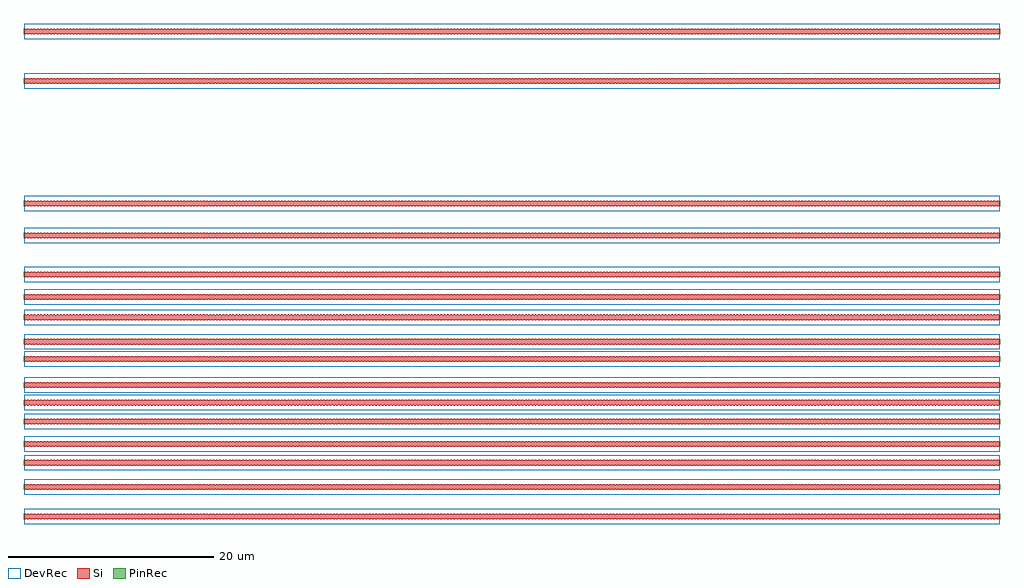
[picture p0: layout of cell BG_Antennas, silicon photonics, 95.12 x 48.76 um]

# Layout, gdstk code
import gdstk
lib = gdstk.Library(unit=1e-6, precision=1e-09)
def R(c, l, rs):  # rectangles x0, y0, x1, y1
    for r in rs: c.add(gdstk.rectangle(r[:2], r[2:], *l))
def A(c, l, x, y, w, h, nx, ny, dx, dy):  # array of equal rectangles
    R(c, l, [(x+i*dx, y+j*dy, x+i*dx+w, y+j*dy+h) for i in range(nx) for j in range(ny)])
Si = (1, 0)
PinRec = (1, 10)
DevRec = (68, 0)

ebeam_bragg_te1550 = lib.new_cell('ebeam_bragg_te1550')
A(ebeam_bragg_te1550, Si, 0, -0.275, 0.158, 0.275, 300, 2, 0.317, 0.275)
A(ebeam_bragg_te1550, Si, 0.158, -0.225, 0.159, 0.225, 300, 2, 0.317, 0.225)
R(ebeam_bragg_te1550, DevRec, [(0,-0.75,95.1,0.75)])
ebeam_bragg_te1550.add(gdstk.FlexPath([(0.01,0),(-0.01,0)], 0.5, ends="flush", simple_path=True, layer=1, datatype=10))  # PinRec
ebeam_bragg_te1550.add(gdstk.FlexPath([(95.09,0),(95.11,0)], 0.5, ends="flush", simple_path=True, layer=1, datatype=10))  # PinRec
ebeam_bragg_te1550.add(gdstk.Label('pin1', (0,0), layer=1, texttype=10))
ebeam_bragg_te1550.add(gdstk.Label('pin2', (95.1,0), layer=1, texttype=10))
ebeam_bragg_te1550.add(gdstk.Label('Lumerical_INTERCONNECT_library=Design kits/ebeam', (0,0), layer=68, texttype=0))
ebeam_bragg_te1550.add(gdstk.Label('Component=ebeam_bragg_te1550', (9.51,0), layer=68, texttype=0))
ebeam_bragg_te1550.add(gdstk.Label('Spice_param:number_of_periods=300 grating_period=3.17e-07 corrugation_width=5e-08 misalignment=0 sinusoidal=0', (10.566,0), layer=68, texttype=0))

bg_antennas = lib.new_cell('BG_Antennas')
bg_antennas.add(gdstk.Reference(ebeam_bragg_te1550, (0.01,43.2), x_reflection=True))
bg_antennas.add(gdstk.Reference(ebeam_bragg_te1550, (0.01,3.64), x_reflection=True))
bg_antennas.add(gdstk.Reference(ebeam_bragg_te1550, (0.01,5.99), x_reflection=True))
bg_antennas.add(gdstk.Reference(ebeam_bragg_te1550, (0.01,7.81), x_reflection=True))
bg_antennas.add(gdstk.Reference(ebeam_bragg_te1550, (0.01,9.99), x_reflection=True))
bg_antennas.add(gdstk.Reference(ebeam_bragg_te1550, (0.01,11.84), x_reflection=True))
bg_antennas.add(gdstk.Reference(ebeam_bragg_te1550, (0.01,13.55), x_reflection=True))
bg_antennas.add(gdstk.Reference(ebeam_bragg_te1550, (0.01,16.1), x_reflection=True))
bg_antennas.add(gdstk.Reference(ebeam_bragg_te1550, (0.01,20.16), x_reflection=True))
bg_antennas.add(gdstk.Reference(ebeam_bragg_te1550, (0.01,31.25), x_reflection=True))
bg_antennas.add(gdstk.Reference(ebeam_bragg_te1550, (0.01,22.15), x_reflection=True))
bg_antennas.add(gdstk.Reference(ebeam_bragg_te1550, (0.01,24.34), x_reflection=True))
bg_antennas.add(gdstk.Reference(ebeam_bragg_te1550, (0.01,28.15), x_reflection=True))
bg_antennas.add(gdstk.Reference(ebeam_bragg_te1550, (0.01,48.013), x_reflection=True))
bg_antennas.add(gdstk.Reference(ebeam_bragg_te1550, (0.01,0.75), x_reflection=True))
bg_antennas.add(gdstk.Reference(ebeam_bragg_te1550, (0.01,17.78), x_reflection=True))

lib.write_gds('BG_Antennas.gds')
